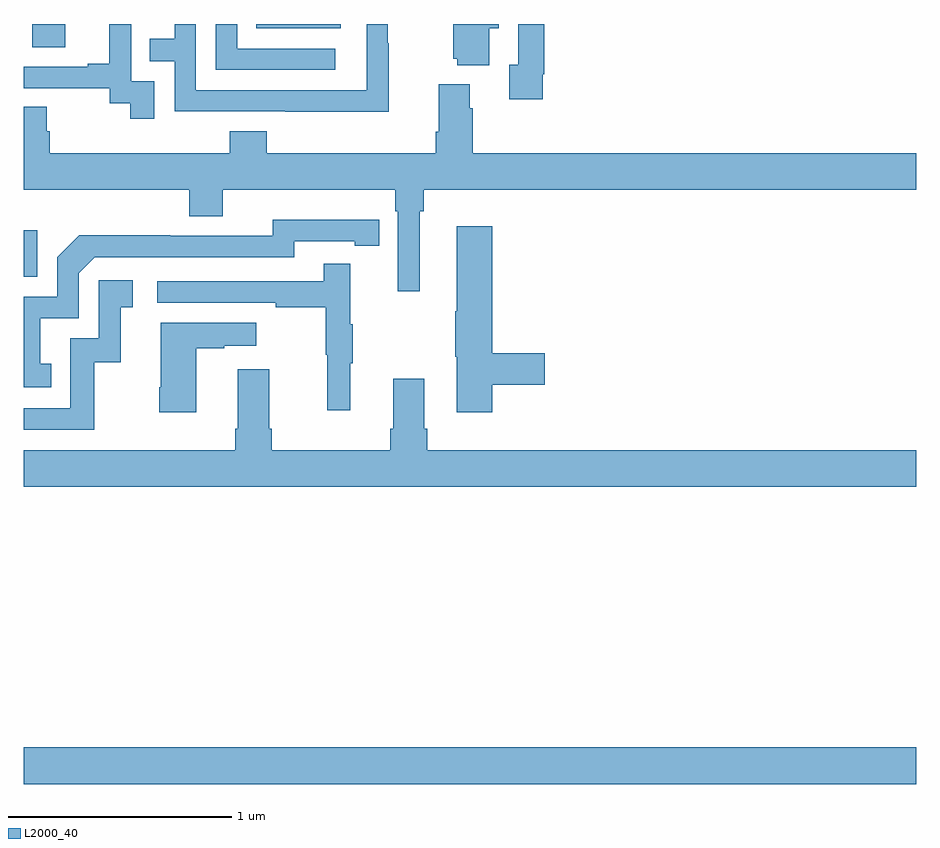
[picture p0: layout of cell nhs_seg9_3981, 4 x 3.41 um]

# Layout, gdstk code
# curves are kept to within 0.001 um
import gdstk
lib = gdstk.Library(unit=1e-6, precision=1e-09)
def R(c, l, rs):  # rectangles x0, y0, x1, y1
    for r in rs: c.add(gdstk.rectangle(r[:2], r[2:], *l))
def P(c, l, *ps):  # polygons
    for p in ps: c.add(gdstk.Polygon(p, *l))
L2000_40 = (2000, 40)

nhs_seg9_3981 = lib.new_cell('nhs_seg9_3981')
R(nhs_seg9_3981, L2000_40, [(339,1191.092,343,1191.256), (339,1193.367,339.06,1193.575), (339.036,1194.396,339.184,1194.5), (340.042,1194.482,340.42,1194.5)])
P(nhs_seg9_3981, L2000_40, [(340.396,1194.39),(339.957,1194.39),(339.957,1194.5),(339.861,1194.5),(339.861,1194.294),(340.396,1194.294)],
  [(341.326,1194.274),(341.333,1194.274),(341.333,1194.5),(341.217,1194.5),(341.217,1194.318),(341.177,1194.318),(341.177,1194.162),(341.326,1194.162)],
  [(339.585,1194.243),(339.48,1194.243),(339.48,1194.473),(339.482,1194.473),(339.482,1194.5),(339.383,1194.5),(339.383,1194.322),(339.287,1194.322),(339.287,1194.309),(339,1194.309),(339,1194.213),(339.384,1194.213),(339.384,1194.145),(339.477,1194.145),(339.477,1194.075),(339.585,1194.075)],
  [(341.086,1194.482),(341.128,1194.482),(341.128,1194.5),(340.925,1194.5),(340.925,1194.345),(340.943,1194.345),(340.943,1194.314),(341.086,1194.314)],
  [(340.635,1194.413),(340.632,1194.413),(340.632,1194.5),(340.536,1194.5),(340.536,1194.204),(339.771,1194.204),(339.771,1194.5),(339.675,1194.5),(339.675,1194.434),(339.565,1194.434),(339.565,1194.333),(339.675,1194.333),(339.675,1194.108),(340.171,1194.108),(340.171,1194.107),(340.635,1194.107)],
  [(340.774,1193.66),(340.793,1193.66),(340.793,1193.756),(343,1193.756),(343,1193.92),(341.012,1193.92),(341.012,1194.122),(340.999,1194.122),(340.999,1194.229),(340.859,1194.229),(340.859,1194.016),(340.847,1194.016),(340.847,1193.92),(340.088,1193.92),(340.088,1194.019),(339.923,1194.019),(339.923,1193.92),(339.116,1193.92),(339.116,1194.018),(339.103,1194.018),(339.103,1194.128),(339,1194.128),(339,1193.756),(339.74,1193.756),(339.74,1193.639),(339.892,1193.639),(339.892,1193.756),(340.664,1193.756),(340.664,1193.66),(340.677,1193.66),(340.677,1193.301),(340.774,1193.301)],
  [(339.122,1192.977),(339.073,1192.977),(339.073,1193.181),(339.246,1193.181),(339.246,1193.382),(339.318,1193.454),(340.212,1193.454),(340.212,1193.526),(340.484,1193.526),(340.484,1193.506),(340.592,1193.506),(340.592,1193.622),(340.116,1193.623),(340.116,1193.55),(339.656,1193.55),(339.656,1193.552),(339.248,1193.552),(339.15,1193.454),(339.15,1193.277),(339,1193.277),(339,1192.872),(339.122,1192.872)],
  [(341.099,1192.882),(341.335,1192.882),(341.335,1193.024),(341.099,1193.024),(341.099,1193.593),(340.94,1193.593),(340.94,1193.213),(340.933,1193.213),(340.933,1193.007),(340.94,1193.007),(340.94,1192.758),(341.099,1192.758)],
  [(340.463,1192.979),(340.474,1192.979),(340.474,1193.153),(340.463,1193.153),(340.463,1193.425),(340.345,1193.425),(340.345,1193.346),(339.597,1193.346),(339.597,1193.25),(340.129,1193.25),(340.129,1193.23),(340.353,1193.23),(340.353,1193.016),(340.36,1193.016),(340.36,1192.767),(340.463,1192.767)],
  [(339.316,1192.983),(339.434,1192.983),(339.434,1193.229),(339.487,1193.229),(339.487,1193.35),(339.336,1193.35),(339.336,1193.091),(339.207,1193.091),(339.207,1192.776),(339,1192.776),(339,1192.68),(339.316,1192.68)],
  [(339.772,1193.047),(339.899,1193.047),(339.899,1193.057),(340.042,1193.057),(340.042,1193.161),(339.614,1193.161),(339.614,1192.87),(339.607,1192.87),(339.607,1192.758),(339.772,1192.758)],
  [(343,1192.588),(340.808,1192.588),(340.808,1192.684),(340.795,1192.684),(340.795,1192.909),(340.655,1192.909),(340.655,1192.684),(340.643,1192.684),(340.643,1192.588),(340.112,1192.588),(340.112,1192.684),(340.099,1192.684),(340.099,1192.951),(339.959,1192.951),(339.959,1192.684),(339.947,1192.684),(339.947,1192.588),(339,1192.588),(339,1192.424),(343,1192.424)])

lib.write_gds('nhs_seg9_3981.gds')
